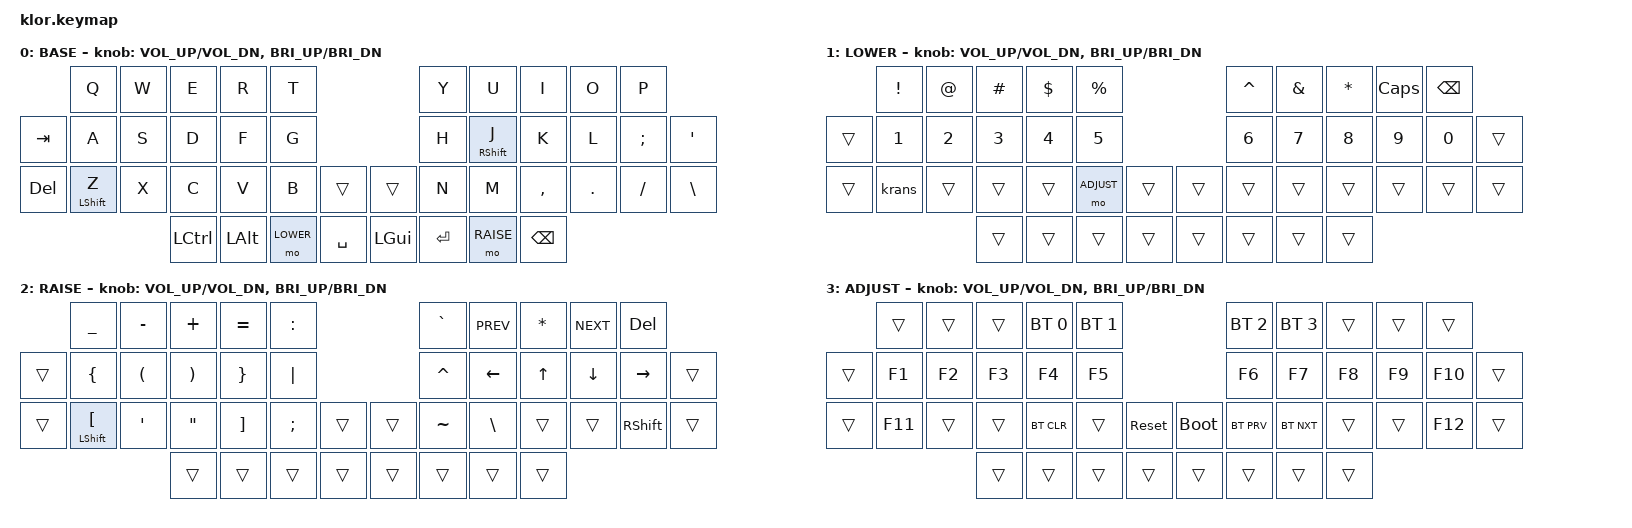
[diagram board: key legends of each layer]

//                               █         █    █            ▄▄▄▀▀▀▀▀▀▄▄▄        █▀▀▀▀▀▀▀▀▀▀█
//                               █        █     █          ▄▀            ▀▄      █          █
//                               █       █      █        ▄▀                ▀▄    █          █
//                               █      █       █        █                  █    █          █
//                               █     █        █       █                    █   █          █
//                               █    █         █       █                    █   █▄▄▄▄▄▄▄▄▄▄█
//                               █   █ █        █       █                    █   █      █
//                               █  █   █       █        █                  █    █       █
//                               █ █     █      █        ▀▄                ▄▀    █        █
//                               ██       █     █          ▀▄            ▄▀      █         █
//                               █         █    █▄▄▄▄▄▄▄▄    ▀▀▀▄▄▄▄▄▄▀▀▀        █          █
//
// ▄▄▄▄▄▄▄▄▄▄▄▄▄▄▄▄▄▄▄▄▄▄▄▄▄▄▄▄▄▄▄▄▄▄▄▄▄▄▄▄▄▄▄▄▄▄▄▄▄▄▄▄▄▄▄▄▄▄▄▄▄▄▄▄▄▄▄▄▄▄▄▄▄▄▄▄▄▄▄▄▄▄▄▄▄▄▄▄▄▄▄▄▄▄▄▄▄▄▄▄▄▄▄▄▄▄▄▄▄▄▄▄▄▄▄▄▄▄▄▄▄▄▄▄▄
       
#include <behaviors.dtsi>
#include <dt-bindings/zmk/keys.h>
#include <dt-bindings/zmk/bt.h>
#include <dt-bindings/zmk/outputs.h>
#include <dt-bindings/zmk/ext_power.h>

#define BASE   0
#define LOWER  1
#define RAISE  2
#define ADJUST 3


/ {
    behaviors {
        hm: homerow_mods {
            compatible = "zmk,behavior-hold-tap";
            label = "HOMEROW_MODS";
            #binding-cells = <2>;
            tapping-term-ms = <150>;
            quick_tap_ms = <0>;
            flavor = "tap-preferred";
            bindings = <&kp>, <&kp>;
        };

    };

     combos {
            compatible = "zmk,combos";
            combo_esc {
                timeout-ms = <50>;
                key-positions = <0 1>;
                bindings = <&kp ESC>;
            };
    };



        keymap {
                compatible = "zmk,keymap";
// ▄▄▄▄▄▄▄▄▄▄▄▄▄▄▄▄▄▄▄▄▄▄▄▄▄▄▄▄▄▄▄▄▄▄▄▄▄▄▄▄▄▄▄▄▄▄▄▄▄▄▄▄▄▄▄▄▄▄▄▄▄▄▄▄▄▄▄▄▄▄▄▄▄▄▄▄▄▄▄▄▄▄▄▄▄▄▄▄▄▄▄▄▄▄▄▄▄▄▄▄▄▄▄▄▄▄▄▄▄▄▄▄▄▄▄▄▄▄▄▄▄▄▄▄▄▄▄▄▄▄▄▄▄▄▄▄▄▄▄▄▄▄


                base_layer {
// ┌───────────────────────────────────────────────────────────┐
label= "BASE"                                                  ;
// └───────────────────────────────────────────────────────────┘
/*           ┌─────────┬─────────┬─────────┬─────────┬─────────┐                    ┌─────────┬─────────┬─────────┬─────────┬─────────┐
             │    Q    │    W    │    E    │    R    │    T    │                    │    Y    │    U    │    I    │    O    │    P    │   
   ┌─────────┼─────────┼─────────┼─────────┼─────────┼─────────┤                    ├─────────┼─────────┼─────────┼─────────┼─────────┼─────────┐
   │   TAB   │    A    │    S    │    D    │    F    │    G    │                    │    H    │    J    │    K    │    L    │    ;    │    "    │
   ├─────────┼─────────┼─────────┼─────────┼─────────┼─────────┤╭────────╮╭────────╮├─────────┼─────────┼─────────┼─────────┼─────────┼─────────┤
   │   DEL   │    Z    │    X    │    C    │    V    │    B    ││  MUTE  ││PLY/PSE ││    N    │    M    │    ,    │    .    │    /    │    \    │
   └─────────┴─────────┴─────────┼─────────┼─────────┼─────────┼╰────────╯╰────────╯┼─────────┼─────────┼─────────┼─────────┴─────────┴─────────┘
                                 │  CTRL   │  ALT    │  LOWER  │   SPACE ││ CMD/WIN │  ENTER  │  RAISE  │  BSPCE  │  
                                 └─────────┴─────────┴─────────┴─────────┘└─────────┴─────────┴─────────┴─────────┘ */ 
 bindings = <
 //╷         ╷         ╷         ╷         ╷         ╷         ╷         ╷╷         ╷         ╷         ╷         ╷         ╷         ╷         ╷
              &kp Q     &kp W     &kp E     &kp R     &kp T                          &kp Y     &kp U     &kp I     &kp O     &kp P
    &kp TAB   &kp A     &kp S     &kp D     &kp F     &kp G                          &kp H   &hm RSHFT J &kp K     &kp L     &kp SEMI     &kp SQT
    &kp DEL &hm LSHFT Z &kp X     &kp C     &kp V     &kp B     &trans     &trans    &kp N     &kp M     &kp COMMA &kp DOT   &kp FSLH  &kp BSLH
                                  &kp LCTRL &kp LALT  &mo LOWER &kp SPACE  &kp LGUI  &kp RET   &mo RAISE &kp BSPC    
                        >;
          #  sensor-bindings = <&inc_dec_kp C_VOL_UP C_VOL_DN>;
            sensor-bindings = <&inc_dec_kp C_VOL_UP C_VOL_DN &inc_dec_kp C_BRI_UP C_BRI_DN>;
                };

// ▄▄▄▄▄▄▄▄▄▄▄▄▄▄▄▄▄▄▄▄▄▄▄▄▄▄▄▄▄▄▄▄▄▄▄▄▄▄▄▄▄▄▄▄▄▄▄▄▄▄▄▄▄▄▄▄▄▄▄▄▄▄▄▄▄▄▄▄▄▄▄▄▄▄▄▄▄▄▄▄▄▄▄▄▄▄▄▄▄▄▄▄▄▄▄▄▄▄▄▄▄▄▄▄▄▄▄▄▄▄▄▄▄▄▄▄▄▄▄▄▄▄▄▄▄▄▄▄▄▄▄▄▄▄▄▄▄▄▄▄▄▄


                lower_layer {
// ┌───────────────────────────────────────────────────────────┐
label= "LOWER"                                                 ;
// └───────────────────────────────────────────────────────────┘
/*           ┌─────────┬─────────┬─────────┬─────────┬─────────┐                    ┌─────────┬─────────┬─────────┬─────────┬─────────┐
             │   !     │         │         │         │    %    │                    │    ^    │         │         │         │         │
   ┌─────────┼─────────┼─────────┼─────────┼─────────┼─────────┤                    ├─────────┼─────────┼─────────┼─────────┼─────────┼─────────┐
   │         │   1     │         │         │         │    5    │                    │    6    │         │         │         │    0    │         │
   ├─────────┼─────────┼─────────┼─────────┼─────────┼─────────┤╭────────╮╭────────╮├─────────┼─────────┼─────────┼─────────┼─────────┼─────────┤
   │         │         │         │         │ ADJUST  │         ││        ││        ││         │         │         │         │         │         │
   └─────────┴─────────┴─────────┼─────────┼─────────┼─────────┼╰────────╯╰────────╯┼─────────┼─────────┼─────────┼─────────┴─────────┴─────────┘
                                 │         │         │         │         ││         │         │         │         │  
                                 └─────────┴─────────┴─────────┴─────────┘└─────────┴─────────┴─────────┴─────────┘ */ 
bindings = <
        &kp EXCL   &kp AT  &kp HASH  &kp DLLR  &kp PRCNT                     &kp CARET  &kp AMPS   &kp STAR  &kp CAPS  &kp BACKSPACE
&trans  &kp N1     &kp N2  &kp N3    &kp N4    &kp N5                        &kp N6     &kp N7     &kp N8    &kp N9    &kp N0      &trans
&trans  &krans     &trans  &trans    &trans    &mo ADJUST &trans     &trans  &trans     &trans     &trans    &trans    &trans      &trans
                           &trans    &trans    &trans     &trans     &trans  &trans     &trans     &trans
            >;

           sensor-bindings = <&inc_dec_kp C_VOL_UP C_VOL_DN &inc_dec_kp C_BRI_UP C_BRI_DN>;
                };

// ▄▄▄▄▄▄▄▄▄▄▄▄▄▄▄▄▄▄▄▄▄▄▄▄▄▄▄▄▄▄▄▄▄▄▄▄▄▄▄▄▄▄▄▄▄▄▄▄▄▄▄▄▄▄▄▄▄▄▄▄▄▄▄▄▄▄▄▄▄▄▄▄▄▄▄▄▄▄▄▄▄▄▄▄▄▄▄▄▄▄▄▄▄▄▄▄▄▄▄▄▄▄▄▄▄▄▄▄▄▄▄▄▄▄▄▄▄▄▄▄▄▄▄▄▄


                raise_layer {
// ┌───────────────────────────────────────────────────────────┐
label= "RAISE"                                                 ;
// └───────────────────────────────────────────────────────────┘
/*           ┌─────────┬─────────┬─────────┬─────────┬─────────┐                    ┌─────────┬─────────┬─────────┬─────────┬─────────┐
             │         │    _    │    +    │    =    │    :    │                    │    `    │         │         │         │         │
   ┌─────────┼─────────┼─────────┼─────────┼─────────┼─────────┤                    ├─────────┼─────────┼─────────┼─────────┼─────────┼─────────┐
   │         │         │         │         │         │         │                    │         │         │         │         │         │         │
   ├─────────┼─────────┼─────────┼─────────┼─────────┼─────────┤╭────────╮╭────────╮├─────────┼─────────┼─────────┼─────────┼─────────┼─────────┤
   │         │         │         │         │         │         ││        ││        ││    ~    │         │         │         │         │         │
   └─────────┴─────────┴─────────┼─────────┼─────────┼─────────┼╰────────╯╰────────╯┼─────────┼─────────┼─────────┼─────────┴─────────┴─────────┘
                                 │         │         │         │         ││         │         │         │         │  
                                 └─────────┴─────────┴─────────┴─────────┘└─────────┴─────────┴─────────┴─────────┘ */ 
 bindings = <
        &kp UNDER        &kp MINUS  &kp PLUS  &kp EQUAL  &kp COLON                        &kp GRAVE   &kp C_PREV  &kp STAR   &kp C_NEXT   &kp DEL
&trans  &kp LBRC         &kp LPAR   &kp RPAR  &kp RBRC   &kp PIPE                         &kp CARET   &kp LEFT    &kp UP     &kp DOWN     &kp RIGHT     &trans
&trans  &hm LSHIFT LBKT  &kp SQT    &kp DQT   &kp RBKT   &kp SEMI       &trans    &trans  &kp TILDE   &kp BSLH    &trans     &trans       &kp RSHIFT    &trans    
                                    &trans    &trans     &trans         &trans    &trans  &trans      &trans      &trans
            >;

                sensor-bindings = <&inc_dec_kp C_VOL_UP C_VOL_DN &inc_dec_kp C_BRI_UP C_BRI_DN>;
                };

// ▄▄▄▄▄▄▄▄▄▄▄▄▄▄▄▄▄▄▄▄▄▄▄▄▄▄▄▄▄▄▄▄▄▄▄▄▄▄▄▄▄▄▄▄▄▄▄▄▄▄▄▄▄▄▄▄▄▄▄▄▄▄▄▄▄▄▄▄▄▄▄▄▄▄▄▄▄▄▄▄▄▄▄▄▄▄▄▄▄▄▄▄▄▄▄▄▄▄▄▄▄▄▄▄▄▄▄▄▄▄▄▄▄▄▄▄▄▄▄▄▄▄▄▄▄


                adjust_layer {
// ┌───────────────────────────────────────────────────────────┐
label= "ADJUST"                                                ;
// └───────────────────────────────────────────────────────────┘
/*           ┌─────────┬─────────┬─────────┬─────────┬─────────┐                    ┌─────────┬─────────┬─────────┬─────────┬─────────┐
             │         │         │         │         │         │                    │         │         │         │         │         │
   ┌─────────┼─────────┼─────────┼─────────┼─────────┼─────────┤                    ├─────────┼─────────┼─────────┼─────────┼─────────┼─────────┐
   │         │   F1    │         │         │         │    F5   │                    │    F6   │         │         │         │   F10   │         │
   ├─────────┼─────────┼─────────┼─────────┼─────────┼─────────┤╭────────╮╭────────╮├─────────┼─────────┼─────────┼─────────┼─────────┼─────────┤
   │         │   F11   │         │         │         │         ││        ││        ││         │         │         │         │   F12   │         │
   └─────────┴─────────┴─────────┼─────────┼─────────┼─────────┼╰────────╯╰────────╯┼─────────┼─────────┼─────────┼─────────┴─────────┴─────────┘
                                 │         │         │         │         ││         │         │         │         │  
                                 └─────────┴─────────┴─────────┴─────────┘└─────────┴─────────┴─────────┴─────────┘ */ 
 bindings = <
        &trans   &trans   &trans   &bt BT_SEL 0  &bt BT_SEL 1                                &bt BT_SEL 2  &bt BT_SEL 3  &trans  &trans  &trans
&trans  &kp F1   &kp F2   &kp F3   &kp F4        &kp F5                                      &kp F6        &kp F7        &kp F8  &kp F9  &kp F10  &trans
&trans  &kp F11  &trans   &trans   &bt BT_CLR    &trans        &sys_reset       &bootloader  &bt BT_PRV    &bt BT_NXT    &trans  &trans  &kp F12  &trans
                          &trans   &trans        &trans        &trans           &trans       &trans        &trans        &trans
            >;
            sensor-bindings = <&inc_dec_kp C_VOL_UP C_VOL_DN &inc_dec_kp C_BRI_UP C_BRI_DN>;
                };
        };
};
